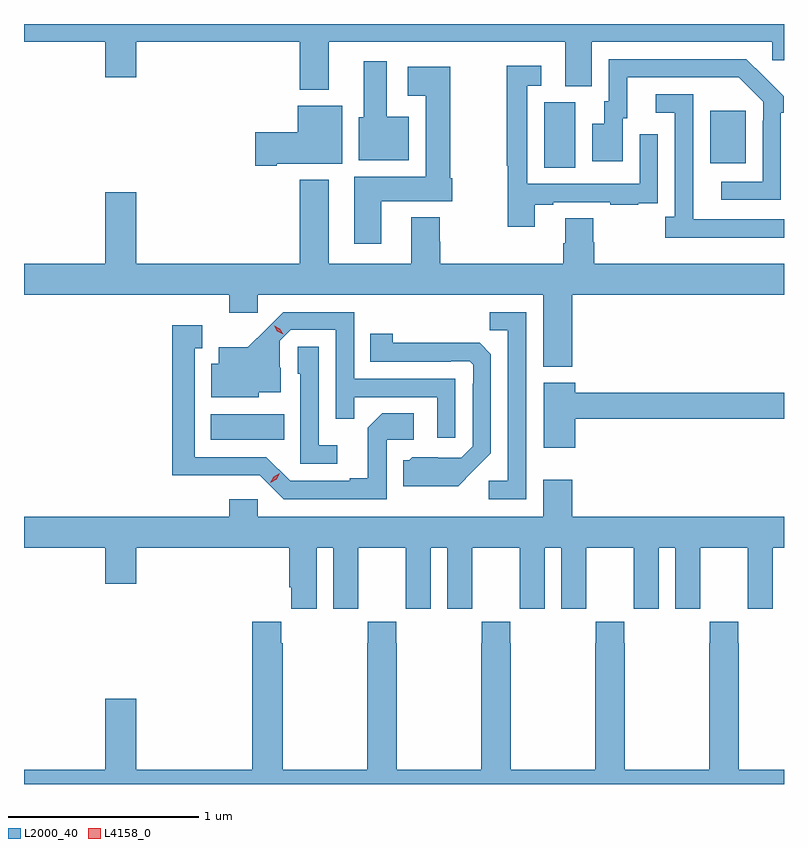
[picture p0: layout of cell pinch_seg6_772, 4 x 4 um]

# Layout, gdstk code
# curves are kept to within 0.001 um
import gdstk
lib = gdstk.Library(unit=1e-6, precision=1e-09)
def R(c, l, rs):  # rectangles x0, y0, x1, y1
    for r in rs: c.add(gdstk.rectangle(r[:2], r[2:], *l))
def P(c, l, *ps):  # polygons
    for p in ps: c.add(gdstk.Polygon(p, *l))
L2000_40 = (2000, 40)
L4158_0 = (4158, 0)

pinch_seg6_772 = lib.new_cell('pinch_seg6_772')
R(pinch_seg6_772, L2000_40, [(165.563,990.53,165.95,990.664), (167.318,991.96,167.482,992.304), (168.191,991.985,168.379,992.26)])
P(pinch_seg6_772, L2000_40, [(166.183,992.624),(167.429,992.624),(167.429,992.389),(167.569,992.389),(167.569,992.624),(168.519,992.624),(168.519,992.526),(168.58,992.526),(168.58,992.717),(164.58,992.717),(164.58,992.624),(165.008,992.624),(165.008,992.436),(165.172,992.436),(165.172,992.624),(166.031,992.624),(166.031,992.372),(166.183,992.372)],
  [(168.564,992.249),(168.579,992.249),(168.579,992.337),(168.382,992.532),(167.658,992.532),(167.658,992.31),(167.633,992.31),(167.633,992.191),(167.57,992.191),(167.57,991.995),(167.731,991.995),(167.731,992.22),(167.755,992.22),(167.755,992.436),(168.343,992.436),(168.471,992.307),(168.471,992.207),(168.468,992.207),(168.468,991.887),(168.249,991.887),(168.249,991.791),(168.564,991.791)],
  [(166.606,992.23),(166.489,992.23),(166.489,992.521),(166.367,992.521),(166.367,992.226),(166.343,992.226),(166.343,992),(166.606,992)],
  [(167.269,991.767),(167.365,991.767),(167.365,991.779),(167.665,991.779),(167.665,991.767),(167.813,991.767),(167.813,991.773),(167.915,991.773),(167.915,991.882),(167.916,991.882),(167.916,992.137),(167.82,992.137),(167.82,991.875),(167.229,991.875),(167.229,992.391),(167.302,992.391),(167.302,992.497),(167.121,992.497),(167.121,991.972),(167.125,991.972),(167.125,991.65),(167.269,991.65)],
  [(166.459,991.784),(166.834,991.784),(166.834,991.905),(166.824,991.905),(166.824,992.491),(166.599,992.491),(166.599,992.339),(166.694,992.339),(166.694,991.912),(166.319,991.912),(166.319,991.56),(166.459,991.56)],
  [(168.58,991.689),(168.103,991.689),(168.103,991.889),(168.102,991.889),(168.102,992.346),(167.904,992.346),(167.904,992.25),(168.006,992.25),(168.006,991.702),(167.955,991.702),(167.955,991.592),(168.58,991.592)],
  [(165.91,991.982),(166.255,991.982),(166.255,992.287),(166.022,992.287),(166.022,992.148),(165.798,992.148),(165.798,991.97),(165.91,991.97)],
  [(165.172,991.831),(165.008,991.831),(165.008,991.456),(164.58,991.456),(164.58,991.292),(165.659,991.292),(165.659,991.197),(165.81,991.197),(165.81,991.292),(167.312,991.292),(167.312,990.914),(167.465,990.914),(167.465,991.292),(168.58,991.292),(168.58,991.456),(167.582,991.456),(167.582,991.569),(167.577,991.569),(167.577,991.694),(167.429,991.694),(167.429,991.562),(167.417,991.562),(167.417,991.456),(166.772,991.456),(166.772,991.572),(166.767,991.572),(166.767,991.699),(166.619,991.699),(166.619,991.456),(166.183,991.456),(166.183,991.897),(166.031,991.897),(166.031,991.456),(165.172,991.456)],
  [(166.851,990.849),(166.317,990.849),(166.317,991.2),(165.944,991.2),(165.757,991.015),(165.605,991.015),(165.605,990.928),(165.566,990.928),(165.566,990.752),(165.816,990.752),(165.816,990.779),(165.931,990.779),(165.931,990.908),(165.927,990.908),(165.927,991.05),(165.984,991.107),(166.221,991.107),(166.221,990.64),(166.319,990.64),(166.319,990.753),(166.755,990.753),(166.755,990.54),(166.851,990.54)],
  [(167.223,991.2),(167.032,991.2),(167.032,991.105),(167.127,991.105),(167.127,990.312),(167.025,990.312),(167.025,990.216),(167.223,990.216)],
  [(166.488,990.528),(166.63,990.528),(166.63,990.668),(166.465,990.668),(166.389,990.592),(166.389,990.325),(166.295,990.325),(166.295,990.312),(165.981,990.312),(165.855,990.438),(165.478,990.438),(165.478,991.011),(165.517,991.011),(165.517,991.132),(165.36,991.132),(165.36,990.341),(165.822,990.342),(165.948,990.216),(166.488,990.216)],
  [(166.945,990.365),(167.037,990.458),(167.037,990.98),(166.978,991.039),(166.521,991.04),(166.521,991.087),(166.402,991.087),(166.402,990.939),(166.826,990.939),(166.826,990.942),(166.926,990.942),(166.944,990.924),(166.944,990.824),(166.941,990.824),(166.941,990.495),(166.881,990.435),(166.624,990.436),(166.608,990.42),(166.577,990.42),(166.577,990.284),(166.865,990.284)],
  [(166.228,990.499),(166.131,990.499),(166.131,991.019),(166.02,991.019),(166.02,990.876),(166.035,990.876),(166.035,990.402),(166.228,990.402)],
  [(167.482,990.64),(168.58,990.64),(168.58,990.776),(167.482,990.776),(167.482,990.829),(167.315,990.829),(167.315,990.486),(167.482,990.486)],
  [(165.81,990.217),(165.659,990.217),(165.659,990.124),(164.58,990.124),(164.58,989.96),(165.008,989.96),(165.008,989.772),(165.172,989.772),(165.172,989.96),(165.977,989.96),(165.977,989.752),(165.986,989.752),(165.986,989.64),(166.12,989.64),(166.12,989.96),(166.208,989.96),(166.208,989.64),(166.338,989.64),(166.338,989.752),(166.339,989.752),(166.339,989.96),(166.589,989.96),(166.589,989.752),(166.59,989.752),(166.59,989.64),(166.72,989.64),(166.72,989.96),(166.808,989.96),(166.808,989.64),(166.938,989.64),(166.938,989.752),(166.939,989.752),(166.939,989.96),(167.189,989.96),(167.189,989.752),(167.19,989.752),(167.19,989.64),(167.32,989.64),(167.32,989.96),(167.408,989.96),(167.408,989.64),(167.538,989.64),(167.538,989.752),(167.539,989.752),(167.539,989.96),(167.789,989.96),(167.789,989.752),(167.79,989.752),(167.79,989.64),(167.92,989.64),(167.92,989.96),(168.008,989.96),(168.008,989.64),(168.138,989.64),(168.138,989.752),(168.139,989.752),(168.139,989.96),(168.389,989.96),(168.389,989.752),(168.39,989.752),(168.39,989.64),(168.52,989.64),(168.52,989.96),(168.58,989.96),(168.58,990.124),(167.465,990.124),(167.465,990.319),(167.312,990.319),(167.312,990.124),(165.81,990.124)],
  [(168.58,988.792),(168.342,988.792),(168.342,989.459),(168.339,989.459),(168.339,989.572),(168.189,989.572),(168.189,989.459),(168.187,989.459),(168.187,988.792),(167.742,988.792),(167.742,989.459),(167.739,989.459),(167.739,989.572),(167.589,989.572),(167.589,989.459),(167.587,989.459),(167.587,988.792),(167.142,988.792),(167.142,989.459),(167.139,989.459),(167.139,989.572),(166.989,989.572),(166.989,989.459),(166.987,989.459),(166.987,988.792),(166.542,988.792),(166.542,989.459),(166.539,989.459),(166.539,989.572),(166.389,989.572),(166.389,989.459),(166.387,989.459),(166.387,988.792),(165.942,988.792),(165.942,989.459),(165.935,989.459),(165.935,989.572),(165.782,989.572),(165.782,988.792),(165.172,988.792),(165.172,989.167),(165.008,989.167),(165.008,988.792),(164.58,988.792),(164.58,988.717),(168.58,988.717)])
P(pinch_seg6_772, L4158_0, [(165.945,991.084),(165.914,991.099),(165.896,991.129),(165.896,991.129),(165.896,991.129),(165.927,991.114),(165.945,991.085),(165.945,991.084)],
  [(165.876,990.302),(165.876,990.302),(165.894,990.335),(165.926,990.353),(165.927,990.353),(165.927,990.353),(165.909,990.321),(165.876,990.302)])

lib.write_gds('pinch_seg6_772.gds')
